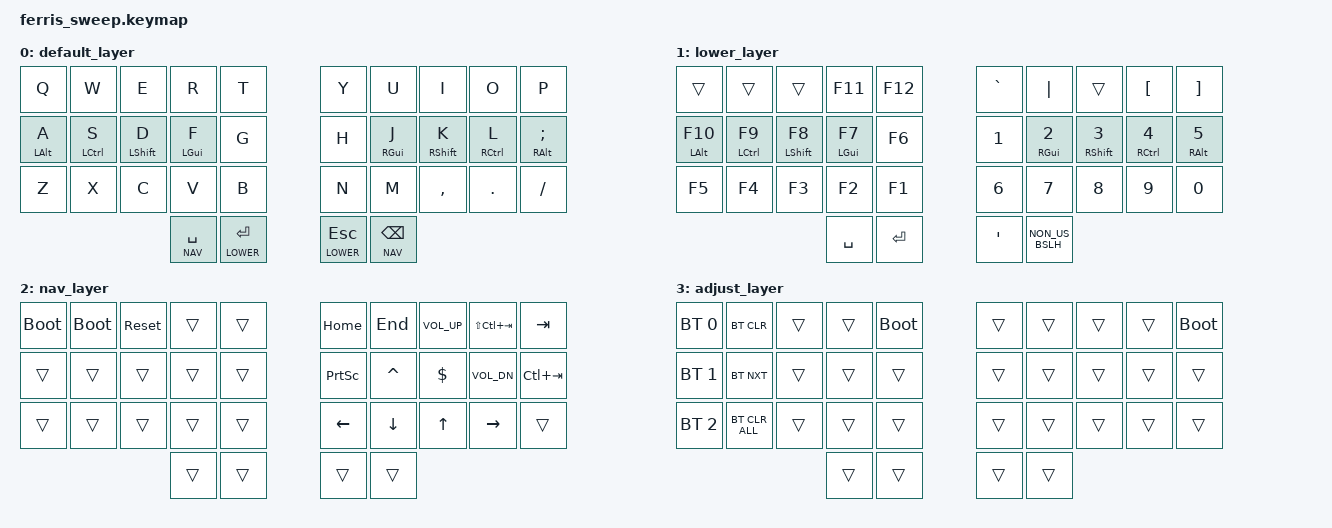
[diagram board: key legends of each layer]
/*
 * Copyright (c) 2024 The ZMK Contributors
 *
 * SPDX-License-Identifier: MIT
 */

#include <behaviors.dtsi>
#include <dt-bindings/zmk/keys.h>
#include <dt-bindings/zmk/bt.h>

#define BASE 0
#define LOWER 1
#define NAV 2
#define ADJUST 3

/ {
    behaviors {
        hm: homerow_mods {
            compatible = "zmk,behavior-hold-tap";
            label = "HOMEROW_MODS";
            #binding-cells = <2>;
            tapping-term-ms = <200>;
            quick-tap-ms = <500>;
            flavor = "tap-preferred";
            bindings = <&kp>, <&kp>;
        };
    };

    conditional_layers {
        compatible = "zmk,conditional-layers";
        tri_layer {
            if-layers = <LOWER NAV>;
            then-layer = <ADJUST>;
        };
    };

    combos {
        compatible = "zmk,combos";
        combo_minus {
            timeout-ms = <100>;
            key-positions = <6 7>;
            bindings = <&kp MINUS>;
        };
        combo_equal {
            timeout-ms = <100>;
            key-positions = <16 17>;
            bindings = <&kp EQUAL>;
        };
        combo_quote {
            timeout-ms = <100>;
            key-positions = <12 13>;
            bindings = <&kp SQT>;
        };
        combo_plus {
            timeout-ms = <50>;
            key-positions = <2 3>;
            bindings = <&kp PLUS>;
        };
        combo_tmux {
            timeout-ms = <200>;
            key-positions = <15 32>;
            bindings = <&kp LC(B)>;
        };
        combo_bkspace {
            timeout-ms = <100>;
            key-positions = <18 19>;
            bindings = <&kp BSPC>;
        };
    };

    keymap {
        compatible = "zmk,keymap";

        default_layer {
            bindings = <
                &kp Q        &kp W      &kp E        &kp R      &kp T         &kp Y      &kp U      &kp I        &kp O       &kp P
                &hm LALT A   &hm LCTRL S &hm LSHIFT D &hm LGUI F &kp G         &kp H      &hm RGUI J &hm RSHIFT K &hm RCTRL L &hm RALT SEMICOLON
                &kp Z        &kp X      &kp C        &kp V      &kp B         &kp N      &kp M      &kp COMMA    &kp DOT     &kp FSLH
                                           &lt NAV SPACE &lt LOWER ENTER       &lt LOWER ESC &lt NAV BSPC
            >;
        };

        lower_layer {
            bindings = <
                &trans       &trans     &trans       &kp F11    &kp F12       &kp GRAVE  &kp PIPE     &trans       &kp LBKT   &kp RBKT
                &hm LALT F10 &hm LCTRL F9 &hm LSHIFT F8 &hm LGUI F7 &kp F6   &kp N1     &hm RGUI N2 &hm RSHIFT N3 &hm RCTRL N4 &hm RALT N5
                &kp F5       &kp F4     &kp F3       &kp F2     &kp F1        &kp N6     &kp N7     &kp N8       &kp N9     &kp N0
                                              &kp SPACE &kp ENTER             &kp APOSTROPHE &kp NON_US_BSLH
            >;
        };

        nav_layer {
            bindings = <
                &bootloader  &bootloader &sys_reset   &trans     &trans        &kp HOME   &kp END    &kp C_VOL_UP &kp LS(LC(TAB)) &kp TAB
                &trans       &trans      &trans       &trans     &trans        &kp PRINTSCREEN   &kp CARET  &kp DLLR     &kp C_VOL_DN  &kp LC(TAB)
                &trans       &trans      &trans       &trans     &trans        &kp LEFT   &kp DOWN   &kp UP       &kp RIGHT     &trans
                                              &trans     &trans                &trans     &trans
            >;
        };

        adjust_layer {
            bindings = <
                &bt BT_SEL 0 &bt BT_CLR     &trans       &trans      &bootloader   &trans     &trans     &trans       &trans       &bootloader
                &bt BT_SEL 1 &bt BT_NXT     &trans       &trans      &trans        &trans     &trans     &trans       &trans       &trans
                &bt BT_SEL 2 &bt BT_CLR_ALL &trans       &trans      &trans        &trans     &trans     &trans       &trans       &trans
                                              &trans     &trans                &trans     &trans
            >;
        };
    };
};
